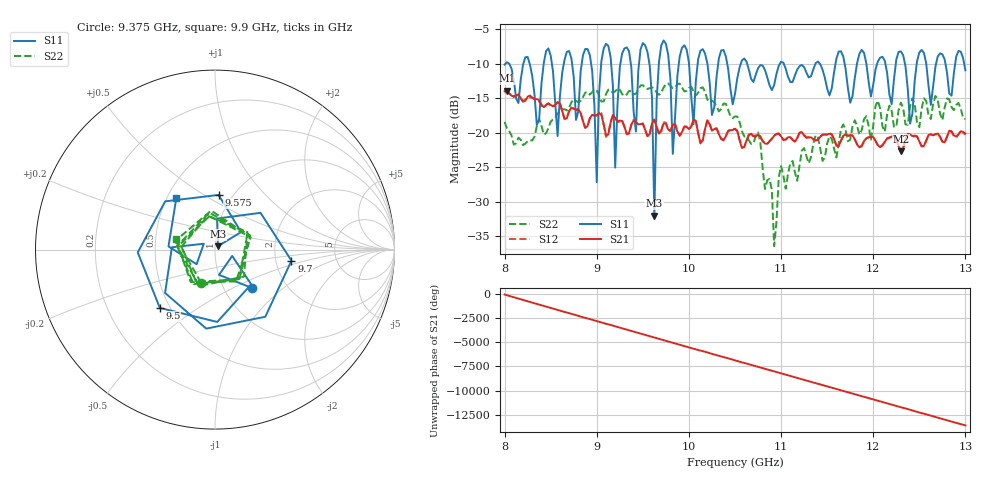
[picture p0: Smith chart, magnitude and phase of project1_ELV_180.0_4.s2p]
! 10/29/2026 4:07:10 PM
! C:\ANRITSUVNA\TEMP\TEMP.S2P
! CHANNEL.1
! TR.MEASUREMENT
! RAW.DATA
# HZ S RI R 50.0
! FREQ.HZ  S11RE  S11IM  S21RE  S21IM  S12RE  S12IM  S22RE  S22IM
!; PortSelection: Port_12
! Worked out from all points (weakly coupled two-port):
!   201 points, 8 GHz to 13 GHz, reference 50 ohm
!   highest |S21| = -13.91 dB at 8.025 GHz (marker M1); lowest = -22.7 dB at 12.3 GHz (marker M2)
!   lowest |S11| = -32.0 dB at 9.625 GHz (marker M3), VSWR 1.05, Z = 51.6 + j1.95 ohm
!   |S11| at or under -10 dB: 10.63 GHz to 10.99 GHz (354.3 MHz wide, 3.28 % of centre); 11.03 GHz to 11.37 GHz (342.2 MHz wide, 3.06 % of centre); 11.42 GHz to 11.59 GHz (168.3 MHz wide, 1.46 % of centre) (the widest 3 of 23)
!   |S22| runs from -36.4 to -12.8 dB; largest |S21 - S12| = 0.056
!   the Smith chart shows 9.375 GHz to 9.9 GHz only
!   S11 on the Smith chart (normalised r, x): 9.375 GHz: 1.35, -0.64; 9.5 GHz: 0.44, -0.36; 9.575 GHz: 0.86, +0.58; 9.7 GHz: 2.44, -0.37; 9.9 GHz: 0.56, +0.37
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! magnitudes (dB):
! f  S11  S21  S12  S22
! 8 GHz  -10.1  -14.0  -14.2  -18.4
! 8.025 GHz  -9.8  -13.9  -14.1  -19.3
! 8.475 GHz  -7.8  -15.7  -15.8  -19.3
! 8.575 GHz  -20.5  -15.6  -15.5  -17.3
! 8.85 GHz  -8.8  -18.3  -18.4  -14.8
! 9 GHz  -27.2  -17.4  -17.6  -13.9
! 9.075 GHz  -7.8  -18.7  -18.9  -15.4
! 9.2 GHz  -25.0  -17.8  -17.8  -14.0
! 9.375 GHz  -10.5  -18.8  -18.8  -14.0
! 9.5 GHz  -7.0  -18.7  -18.6  -13.1
! 9.575 GHz  -10.3  -20.2  -20.1  -13.5
! 9.625 GHz  -32.0  -18.1  -18.1  -13.6
! 9.675 GHz  -9.7  -20.1  -20.2  -14.5
! 9.7 GHz  -7.3  -19.6  -19.8  -14.2
! 9.825 GHz  -23.1  -18.8  -18.7  -13.5
! 9.9 GHz  -8.9  -20.4  -20.4  -12.9
! 10.5 GHz  -14.3  -19.4  -19.4  -17.6
! 10.93 GHz  -13.1  -20.4  -20.4  -36.4
! 11.35 GHz  -10.8  -20.9  -21.0  -21.6
! 12.18 GHz  -14.4  -20.7  -20.7  -16.1
! 12.3 GHz  -8.2  -22.7  -22.8  -15.6
! 13 GHz  -10.9  -20.1  -20.2  -18.0
